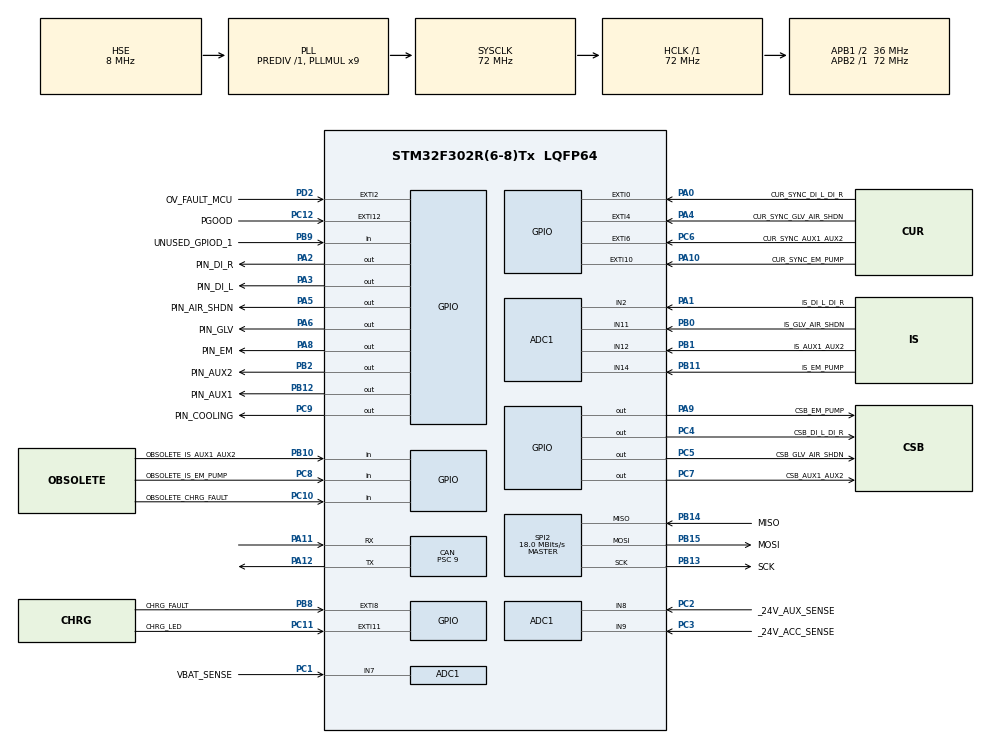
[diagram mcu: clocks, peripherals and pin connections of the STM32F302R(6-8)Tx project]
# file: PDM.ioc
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ADC1.Channel-7\#ChannelRegularConversion=ADC_CHANNEL_11
ADC1.NbrOfConversionFlag=1
ADC1.Offset-7\#ChannelRegularConversion=0
ADC1.OffsetNumber-7\#ChannelRegularConversion=ADC_OFFSET_NONE
ADC1.Rank-7\#ChannelRegularConversion=1
ADC1.SamplingTime-7\#ChannelRegularConversion=ADC_SAMPLETIME_1CYCLE_5
ADC1.SubFamily=STM32F302x8
ADC1.master=1
CAN.ABOM=ENABLE
CAN.BS1=CAN_BS1_6TQ
CAN.CalculateTimeQuantum=250.0
CAN.NART=ENABLE
CAN.Prescaler=9
CAN.RFLM=ENABLE
CAN.SJW=CAN_SJW_4TQ
CAN.TXFP=ENABLE
FREERTOS.INCLUDE_vTaskDelayUntil=1
FREERTOS.MEMORY_ALLOCATION=1
FREERTOS.Tasks01=Task1Hz,0,128,RunTask1Hz,Default,NULL,Static,Task1HzBuffer,Task1HzControlBlock;Task1kHz,0,128,RunTask1kHz,Default,NULL,Static,Task1kHzBuffer,Task1kHzControlBlock
FREERTOS.configUSE_MUTEXES=1
IWDG.Reload=LSI_FREQUENCY / IWDG_PRESCALER / IWDG_RESET_FREQUENCY
IWDG.Window=IWDG_WINDOW_DISABLE_VALUE
Mcu.Family=STM32F3
Mcu.Name=STM32F302R(6-8)Tx
Mcu.Package=LQFP64
Mcu.UserConstants=IWDG_WINDOW_DISABLE_VALUE,4095;LSI_FREQUENCY,40000;IWDG_PRESCALER,4;IWDG_RESET_FREQUENCY,5
NVIC.CAN_RX1_IRQn=true\:5\:0\:false\:false\:true\:true\:true\:true
NVIC.PriorityGroup=NVIC_PRIORITYGROUP_4
NVIC.TIM1_UP_TIM16_IRQn=true\:0\:0\:false\:false\:true\:false\:false\:true
NVIC.TimeBase=TIM1_UP_TIM16_IRQn
NVIC.TimeBaseIP=TIM1
NVIC.USB_HP_CAN_TX_IRQn=true\:5\:0\:false\:false\:true\:true\:true\:true
NVIC.USB_LP_CAN_RX0_IRQn=true\:5\:0\:false\:false\:true\:true\:true\:true
PA0.GPIO_Label=CUR_SYNC_DI_L_DI_R
PA0.Signal=GPXTI0
PA1.GPIO_Label=IS_DI_L_DI_R
PA1.Mode=IN2-Single-Ended
PA1.Signal=ADC1_IN2
PA10.GPIO_Label=CUR_SYNC_EM_PUMP
PA10.Signal=GPXTI10
PA11.Mode=Master
PA11.Signal=CAN_RX
PA12.Mode=Master
PA12.Signal=CAN_TX
PA13.Mode=Trace_Asynchronous_SW
PA13.Signal=SYS_JTMS-SWDIO
PA14.Mode=Trace_Asynchronous_SW
PA14.Signal=SYS_JTCK-SWCLK
PA2.GPIO_Label=PIN_DI_R
PA2.GPIO_ModeDefaultOutputPP=GPIO_MODE_OUTPUT_OD
PA2.GPIO_PuPd=GPIO_PULLUP
PA2.Signal=GPIO_Output
PA3.GPIO_Label=PIN_DI_L
PA3.GPIO_ModeDefaultOutputPP=GPIO_MODE_OUTPUT_OD
PA3.GPIO_PuPd=GPIO_PULLUP
PA3.Signal=GPIO_Output
PA4.GPIO_Label=CUR_SYNC_GLV_AIR_SHDN
PA4.Signal=GPXTI4
PA5.GPIO_Label=PIN_AIR_SHDN
PA5.GPIO_ModeDefaultOutputPP=GPIO_MODE_OUTPUT_OD
PA5.GPIO_PuPd=GPIO_PULLUP
PA5.Signal=GPIO_Output
PA6.GPIO_Label=PIN_GLV
PA6.GPIO_ModeDefaultOutputPP=GPIO_MODE_OUTPUT_OD
PA6.GPIO_PuPd=GPIO_PULLUP
PA6.Signal=GPIO_Output
PA8.GPIO_Label=PIN_EM
PA8.GPIO_ModeDefaultOutputPP=GPIO_MODE_OUTPUT_OD
PA8.GPIO_PuPd=GPIO_PULLUP
PA8.Signal=GPIO_Output
PA9.GPIO_Label=CSB_EM_PUMP
PA9.GPIO_PuPd=GPIO_PULLUP
PA9.PinState=GPIO_PIN_SET
PA9.Signal=GPIO_Output
PB0.GPIO_Label=IS_GLV_AIR_SHDN
PB0.Mode=IN11-Single-Ended
PB0.Signal=ADC1_IN11
PB1.GPIO_Label=IS_AUX1_AUX2
PB1.Mode=IN12-Single-Ended
PB1.Signal=ADC1_IN12
PB10.GPIO_Label=OBSOLETE_IS_AUX1_AUX2
PB10.Signal=GPIO_Input
PB11.GPIO_Label=IS_EM_PUMP
PB11.Mode=IN14-Single-Ended
PB11.Signal=ADC1_IN14
PB12.GPIO_Label=PIN_AUX1
PB12.GPIO_ModeDefaultOutputPP=GPIO_MODE_OUTPUT_OD
PB12.GPIO_PuPd=GPIO_PULLUP
PB12.Signal=GPIO_Output
PB13.GPIO_Label=SCK
PB13.Mode=Full_Duplex_Master
PB13.Signal=SPI2_SCK
PB14.GPIO_Label=MISO
PB14.Mode=Full_Duplex_Master
PB14.Signal=SPI2_MISO
PB15.GPIO_Label=MOSI
PB15.Mode=Full_Duplex_Master
PB15.Signal=SPI2_MOSI
PB2.GPIO_Label=PIN_AUX2
PB2.GPIO_ModeDefaultOutputPP=GPIO_MODE_OUTPUT_OD
PB2.GPIO_PuPd=GPIO_PULLUP
PB2.Signal=GPIO_Output
PB3.Mode=Trace_Asynchronous_SW
PB3.Signal=SYS_JTDO-TRACESWO
PB8.GPIO_Label=CHRG_FAULT
PB8.Signal=GPXTI8
PB9.GPIO_Label=UNUSED_GPIOD_1
PB9.Signal=GPIO_Input
PC1.GPIO_Label=VBAT_SENSE
PC1.Signal=ADCx_IN7
PC10.GPIO_Label=OBSOLETE_CHRG_FAULT
PC10.Signal=GPIO_Input
PC11.GPIO_Label=CHRG_LED
PC11.Signal=GPXTI11
PC12.GPIO_Label=PGOOD
PC12.Signal=GPXTI12
PC2.GPIO_Label=_24V_AUX_SENSE
PC2.Signal=ADCx_IN8
PC3.GPIO_Label=_24V_ACC_SENSE
PC3.Signal=ADCx_IN9
PC4.GPIO_Label=CSB_DI_L_DI_R
PC4.GPIO_PuPd=GPIO_PULLUP
PC4.PinState=GPIO_PIN_SET
PC4.Signal=GPIO_Output
PC5.GPIO_Label=CSB_GLV_AIR_SHDN
PC5.GPIO_PuPd=GPIO_PULLUP
PC5.PinState=GPIO_PIN_SET
PC5.Signal=GPIO_Output
PC6.GPIO_Label=CUR_SYNC_AUX1_AUX2
PC6.Signal=GPXTI6
PC7.GPIO_Label=CSB_AUX1_AUX2
PC7.GPIO_PuPd=GPIO_PULLUP
PC7.PinState=GPIO_PIN_SET
PC7.Signal=GPIO_Output
PC8.GPIO_Label=OBSOLETE_IS_EM_PUMP
PC8.Signal=GPIO_Input
PC9.GPIO_Label=PIN_COOLING
PC9.GPIO_ModeDefaultOutputPP=GPIO_MODE_OUTPUT_OD
PC9.GPIO_PuPd=GPIO_PULLUP
PC9.Signal=GPIO_Output
PD2.GPIO_Label=OV_FAULT_MCU
PD2.Signal=GPXTI2
PF0-OSC_IN.Mode=HSE-External-Oscillator
PF0-OSC_IN.Signal=RCC_OSC_IN
PF1-OSC_OUT.Mode=HSE-External-Oscillator
PF1-OSC_OUT.Signal=RCC_OSC_OUT
ProjectManager.HeapSize=0x200
ProjectManager.StackSize=0x400
ProjectManager.TargetToolchain=SW4STM32
RCC.AHBFreq_Value=72000000
RCC.APB1CLKDivider=RCC_HCLK_DIV2
RCC.APB1Freq_Value=36000000
RCC.APB1TimFreq_Value=72000000
RCC.APB2Freq_Value=72000000
RCC.APB2TimFreq_Value=72000000
RCC.CortexFreq_Value=72000000
RCC.HCLKFreq_Value=72000000
RCC.HSE_VALUE=8000000
RCC.HSI_VALUE=8000000
RCC.LSE_VALUE=32768
RCC.PLLMUL=RCC_PLL_MUL9
RCC.PLLSourceVirtual=RCC_PLLSOURCE_HSE
RCC.SYSCLKFreq_VALUE=72000000
RCC.SYSCLKSourceVirtual=RCC_SYSCLKSOURCE_PLLCLK
RCC.USBFreq_Value=72000000
SH.ADCx_IN7.0=ADC1_IN7,IN7-Single-Ended
SH.ADCx_IN8.0=ADC1_IN8,IN8-Single-Ended
SH.ADCx_IN9.0=ADC1_IN9,IN9-Single-Ended
SPI2.BaudRatePrescaler=SPI_BAUDRATEPRESCALER_2
SPI2.CalculateBaudRate=18.0 MBits/s
SPI2.Direction=SPI_DIRECTION_2LINES
SPI2.Mode=SPI_MODE_MASTER
SPI2.VirtualType=VM_MASTER
VP_FREERTOS_VS_CMSIS_V1.Mode=CMSIS_V1
VP_IWDG_VS_IWDG.Mode=IWDG_Activate
VP_SYS_VS_tim1.Mode=TIM1
board=custom

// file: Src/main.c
/* USER CODE BEGIN Header */
/**
 ******************************************************************************
 * @file           : main.c
 * @brief          : Main program body
 ******************************************************************************
 * @attention
 *
 * <h2><center>&copy; Copyright (c) 2019 STMicroelectronics.
 * All rights reserved.</center></h2>
 *
 * This software component is licensed by ST under Ultimate Liberty license
 * SLA0044, the "License"; You may not use this file except in compliance with
 * the License. You may obtain a copy of the License at:
 *                             www.st.com/SLA0044
 *
 ******************************************************************************
 */
/* USER CODE END Header */

#include "main.h"
#include "cmsis_os.h"

/* USER CODE BEGIN Includes */
#include "SharedWatchdog.h"
#include "SharedConstants.h"
#include "SharedCmsisOs.h"
#include "SharedCan.h"
#include "SharedHeartbeat.h"
#include "SharedHardFaultHandler.h"
#include "Io_Can.h"
/* USER CODE END Includes */

ADC_HandleTypeDef hadc1;

CAN_HandleTypeDef hcan;

IWDG_HandleTypeDef hiwdg;

SPI_HandleTypeDef hspi2;

osThreadId          Task1HzHandle;
uint32_t            Task1HzBuffer[128];
osStaticThreadDef_t Task1HzControlBlock;
osThreadId          Task1kHzHandle;
uint32_t            Task1kHzBuffer[128];
osStaticThreadDef_t Task1kHzControlBlock;

void        SystemClock_Config(void);
static void MX_GPIO_Init(void);
static void MX_CAN_Init(void);
static void MX_SPI2_Init(void);
static void MX_ADC1_Init(void);
static void MX_IWDG_Init(void);
void        RunTask1Hz(void const *argument);
void        RunTask1kHz(void const *argument);

int main(void)
{
    /* USER CODE BEGIN 1 */
    __HAL_DBGMCU_FREEZE_IWDG();
    SharedHardFaultHandler_Init();
    /* USER CODE END 1 */

    /* MCU
     * Configuration--------------------------------------------------------*/

    /* Reset of all peripherals, Initializes the Flash interface and the
     * Systick. */
    HAL_Init();

    /* Configure the system clock */
    SystemClock_Config();

    /* Initialize all configured peripherals */
    MX_GPIO_Init();
    MX_CAN_Init();
    MX_SPI2_Init();
    MX_ADC1_Init();
    MX_IWDG_Init();

    /* Create the thread(s) */
    /* definition and creation of Task1Hz */
    osThreadStaticDef(
        Task1Hz, RunTask1Hz, osPriorityNormal, 0, 128, Task1HzBuffer,
        &Task1HzControlBlock);
    Task1HzHandle = osThreadCreate(osThread(Task1Hz), NULL);

    /* definition and creation of Task1kHz */
    osThreadStaticDef(
        Task1kHz, RunTask1kHz, osPriorityNormal, 0, 128, Task1kHzBuffer,
        &Task1kHzControlBlock);
    Task1kHzHandle = osThreadCreate(osThread(Task1kHz), NULL);

    /* Start scheduler */
    osKernelStart();

    /* We should never get here as control is now taken by the scheduler */

    /* Infinite loop */
    while (1)
    {

    }
}

void SystemClock_Config(void)
{
    RCC_OscInitTypeDef       RCC_OscInitStruct = { 0 };
    RCC_ClkInitTypeDef       RCC_ClkInitStruct = { 0 };
    RCC_PeriphCLKInitTypeDef PeriphClkInit     = { 0 };

    /** Initializes the CPU, AHB and APB busses clocks
     */
    RCC_OscInitStruct.OscillatorType =
        RCC_OSCILLATORTYPE_LSI | RCC_OSCILLATORTYPE_HSE;
    RCC_OscInitStruct.HSEState       = RCC_HSE_ON;
    RCC_OscInitStruct.HSEPredivValue = RCC_HSE_PREDIV_DIV1;
    RCC_OscInitStruct.HSIState       = RCC_HSI_ON;
    RCC_OscInitStruct.LSIState       = RCC_LSI_ON;
    RCC_OscInitStruct.PLL.PLLState   = RCC_PLL_ON;
    RCC_OscInitStruct.PLL.PLLSource  = RCC_PLLSOURCE_HSE;
    RCC_OscInitStruct.PLL.PLLMUL     = RCC_PLL_MUL9;
    if (HAL_RCC_OscConfig(&RCC_OscInitStruct) != HAL_OK)
    {
        Error_Handler();
    }
    /** Initializes the CPU, AHB and APB busses clocks
     */
    RCC_ClkInitStruct.ClockType = RCC_CLOCKTYPE_HCLK | RCC_CLOCKTYPE_SYSCLK |
                                  RCC_CLOCKTYPE_PCLK1 | RCC_CLOCKTYPE_PCLK2;
    RCC_ClkInitStruct.SYSCLKSource   = RCC_SYSCLKSOURCE_PLLCLK;
    RCC_ClkInitStruct.AHBCLKDivider  = RCC_SYSCLK_DIV1;
    RCC_ClkInitStruct.APB1CLKDivider = RCC_HCLK_DIV2;
    RCC_ClkInitStruct.APB2CLKDivider = RCC_HCLK_DIV1;

    if (HAL_RCC_ClockConfig(&RCC_ClkInitStruct, FLASH_LATENCY_2) != HAL_OK)
    {
        Error_Handler();
    }
    PeriphClkInit.PeriphClockSelection = RCC_PERIPHCLK_ADC1;
    PeriphClkInit.Adc1ClockSelection   = RCC_ADC1PLLCLK_DIV1;

    if (HAL_RCCEx_PeriphCLKConfig(&PeriphClkInit) != HAL_OK)
    {
        Error_Handler();
    }
}

static void MX_ADC1_Init(void)
{

    ADC_ChannelConfTypeDef sConfig = { 0 };

    /** Common config
     */
    hadc1.Instance                   = ADC1;
    hadc1.Init.ClockPrescaler        = ADC_CLOCK_ASYNC_DIV1;
    hadc1.Init.Resolution            = ADC_RESOLUTION_12B;
    hadc1.Init.ScanConvMode          = ADC_SCAN_DISABLE;
    hadc1.Init.ContinuousConvMode    = DISABLE;
    hadc1.Init.DiscontinuousConvMode = DISABLE;
    hadc1.Init.ExternalTrigConvEdge  = ADC_EXTERNALTRIGCONVEDGE_NONE;
    hadc1.Init.ExternalTrigConv      = ADC_SOFTWARE_START;
    hadc1.Init.DataAlign             = ADC_DATAALIGN_RIGHT;
    hadc1.Init.NbrOfConversion       = 1;
    hadc1.Init.DMAContinuousRequests = DISABLE;
    hadc1.Init.EOCSelection          = ADC_EOC_SINGLE_CONV;
    hadc1.Init.LowPowerAutoWait      = DISABLE;
    hadc1.Init.Overrun               = ADC_OVR_DATA_OVERWRITTEN;
    if (HAL_ADC_Init(&hadc1) != HAL_OK)
    {
        Error_Handler();
    }
    /** Configure Regular Channel
     */
    sConfig.Channel      = ADC_CHANNEL_11;
    sConfig.Rank         = ADC_REGULAR_RANK_1;
    sConfig.SingleDiff   = ADC_SINGLE_ENDED;
    sConfig.SamplingTime = ADC_SAMPLETIME_1CYCLE_5;
    sConfig.OffsetNumber = ADC_OFFSET_NONE;
    sConfig.Offset       = 0;
    if (HAL_ADC_ConfigChannel(&hadc1, &sConfig) != HAL_OK)
    {
        Error_Handler();
    }
}

static void MX_CAN_Init(void)
{

    hcan.Instance                  = CAN;
    hcan.Init.Prescaler            = 9;
    hcan.Init.Mode                 = CAN_MODE_NORMAL;
    hcan.Init.SyncJumpWidth        = CAN_SJW_4TQ;
    hcan.Init.TimeSeg1             = CAN_BS1_6TQ;
    hcan.Init.TimeSeg2             = CAN_BS2_1TQ;
    hcan.Init.TimeTriggeredMode    = DISABLE;
    hcan.Init.AutoBusOff           = ENABLE;
    hcan.Init.AutoWakeUp           = DISABLE;
    hcan.Init.AutoRetransmission   = ENABLE;
    hcan.Init.ReceiveFifoLocked    = ENABLE;
    hcan.Init.TransmitFifoPriority = ENABLE;
    if (HAL_CAN_Init(&hcan) != HAL_OK)
    {
        Error_Handler();
    }
    /* USER CODE BEGIN CAN_Init 2 */
    SharedCan_StartCanInInterruptMode(
        &hcan, Io_Can_GetCanMaskFilters(), Io_Can_GetNumberOfCanMaskFilters());
    /* USER CODE END CAN_Init 2 */
}

static void MX_IWDG_Init(void)
{

    hiwdg.Instance       = IWDG;
    hiwdg.Init.Prescaler = IWDG_PRESCALER_4;
    hiwdg.Init.Window    = IWDG_WINDOW_DISABLE_VALUE;
    hiwdg.Init.Reload = LSI_FREQUENCY / IWDG_PRESCALER / IWDG_RESET_FREQUENCY;
    if (HAL_IWDG_Init(&hiwdg) != HAL_OK)
    {
        Error_Handler();
    }
    /* USER CODE BEGIN IWDG_Init 2 */
    SharedWatchdog_SetIwdgInitialized(&hiwdg);
    /* USER CODE END IWDG_Init 2 */
}

static void MX_SPI2_Init(void)
{

    /* SPI2 parameter configuration*/
    hspi2.Instance               = SPI2;
    hspi2.Init.Mode              = SPI_MODE_MASTER;
    hspi2.Init.Direction         = SPI_DIRECTION_2LINES;
    hspi2.Init.DataSize          = SPI_DATASIZE_4BIT;
    hspi2.Init.CLKPolarity       = SPI_POLARITY_LOW;
    hspi2.Init.CLKPhase          = SPI_PHASE_1EDGE;
    hspi2.Init.NSS               = SPI_NSS_SOFT;
    hspi2.Init.BaudRatePrescaler = SPI_BAUDRATEPRESCALER_2;
    hspi2.Init.FirstBit          = SPI_FIRSTBIT_MSB;
    hspi2.Init.TIMode            = SPI_TIMODE_DISABLE;
    hspi2.Init.CRCCalculation    = SPI_CRCCALCULATION_DISABLE;
    hspi2.Init.CRCPolynomial     = 7;
    hspi2.Init.CRCLength         = SPI_CRC_LENGTH_DATASIZE;
    hspi2.Init.NSSPMode          = SPI_NSS_PULSE_ENABLE;
    if (HAL_SPI_Init(&hspi2) != HAL_OK)
    {
        Error_Handler();
    }
}

static void MX_GPIO_Init(void)
{
    GPIO_InitTypeDef GPIO_InitStruct = { 0 };

    /* GPIO Ports Clock Enable */
    __HAL_RCC_GPIOC_CLK_ENABLE();
    __HAL_RCC_GPIOF_CLK_ENABLE();
    __HAL_RCC_GPIOA_CLK_ENABLE();
    __HAL_RCC_GPIOB_CLK_ENABLE();
    __HAL_RCC_GPIOD_CLK_ENABLE();

    /*Configure GPIO pin Output Level */
    HAL_GPIO_WritePin(
        GPIOA,
        PIN_DI_R_Pin | PIN_DI_L_Pin | PIN_AIR_SHDN_Pin | PIN_GLV_Pin |
            PIN_EM_Pin,
        GPIO_PIN_RESET);

    /*Configure GPIO pin Output Level */
    HAL_GPIO_WritePin(
        GPIOC, CSB_DI_L_DI_R_Pin | CSB_GLV_AIR_SHDN_Pin | CSB_AUX1_AUX2_Pin,
        GPIO_PIN_SET);

    /*Configure GPIO pin Output Level */
    HAL_GPIO_WritePin(GPIOB, PIN_AUX2_Pin | PIN_AUX1_Pin, GPIO_PIN_RESET);

    /*Configure GPIO pin Output Level */
    HAL_GPIO_WritePin(PIN_COOLING_GPIO_Port, PIN_COOLING_Pin, GPIO_PIN_RESET);

    /*Configure GPIO pin Output Level */
    HAL_GPIO_WritePin(CSB_EM_PUMP_GPIO_Port, CSB_EM_PUMP_Pin, GPIO_PIN_SET);

    /*Configure GPIO pins : PC13 PC14 PC15 PC0 */
    GPIO_InitStruct.Pin  = GPIO_PIN_13 | GPIO_PIN_14 | GPIO_PIN_15 | GPIO_PIN_0;
    GPIO_InitStruct.Mode = GPIO_MODE_ANALOG;
    GPIO_InitStruct.Pull = GPIO_NOPULL;
    HAL_GPIO_Init(GPIOC, &GPIO_InitStruct);

    /*Configure GPIO pins : CUR_SYNC_DI_L_DI_R_Pin CUR_SYNC_GLV_AIR_SHDN_Pin
     * CUR_SYNC_EM_PUMP_Pin */
    GPIO_InitStruct.Pin = CUR_SYNC_DI_L_DI_R_Pin | CUR_SYNC_GLV_AIR_SHDN_Pin |
                          CUR_SYNC_EM_PUMP_Pin;
    GPIO_InitStruct.Mode = GPIO_MODE_IT_RISING;
    GPIO_InitStruct.Pull = GPIO_NOPULL;
    HAL_GPIO_Init(GPIOA, &GPIO_InitStruct);

    /*Configure GPIO pins : PIN_DI_R_Pin PIN_DI_L_Pin PIN_AIR_SHDN_Pin
       PIN_GLV_Pin PIN_EM_Pin */
    GPIO_InitStruct.Pin = PIN_DI_R_Pin | PIN_DI_L_Pin | PIN_AIR_SHDN_Pin |
                          PIN_GLV_Pin | PIN_EM_Pin;
    GPIO_InitStruct.Mode  = GPIO_MODE_OUTPUT_OD;
    GPIO_InitStruct.Pull  = GPIO_PULLUP;
    GPIO_InitStruct.Speed = GPIO_SPEED_FREQ_LOW;
    HAL_GPIO_Init(GPIOA, &GPIO_InitStruct);

    /*Configure GPIO pins : PA7 PA15 */
    GPIO_InitStruct.Pin  = GPIO_PIN_7 | GPIO_PIN_15;
    GPIO_InitStruct.Mode = GPIO_MODE_ANALOG;
    GPIO_InitStruct.Pull = GPIO_NOPULL;
    HAL_GPIO_Init(GPIOA, &GPIO_InitStruct);

    /*Configure GPIO pins : CSB_DI_L_DI_R_Pin CSB_GLV_AIR_SHDN_Pin
     * CSB_AUX1_AUX2_Pin */
    GPIO_InitStruct.Pin =
        CSB_DI_L_DI_R_Pin | CSB_GLV_AIR_SHDN_Pin | CSB_AUX1_AUX2_Pin;
    GPIO_InitStruct.Mode  = GPIO_MODE_OUTPUT_PP;
    GPIO_InitStruct.Pull  = GPIO_PULLUP;
    GPIO_InitStruct.Speed = GPIO_SPEED_FREQ_LOW;
    HAL_GPIO_Init(GPIOC, &GPIO_InitStruct);

    /*Configure GPIO pins : PIN_AUX2_Pin PIN_AUX1_Pin */
    GPIO_InitStruct.Pin   = PIN_AUX2_Pin | PIN_AUX1_Pin;
    GPIO_InitStruct.Mode  = GPIO_MODE_OUTPUT_OD;
    GPIO_InitStruct.Pull  = GPIO_PULLUP;
    GPIO_InitStruct.Speed = GPIO_SPEED_FREQ_LOW;
    HAL_GPIO_Init(GPIOB, &GPIO_InitStruct);

    /*Configure GPIO pins : OBSOLETE_IS_AUX1_AUX2_Pin UNUSED_GPIOD_1_Pin */
    GPIO_InitStruct.Pin  = OBSOLETE_IS_AUX1_AUX2_Pin | UNUSED_GPIOD_1_Pin;
    GPIO_InitStruct.Mode = GPIO_MODE_INPUT;
    GPIO_InitStruct.Pull = GPIO_NOPULL;
    HAL_GPIO_Init(GPIOB, &GPIO_InitStruct);

    /*Configure GPIO pins : CUR_SYNC_AUX1_AUX2_Pin CHRG_LED_Pin PGOOD_Pin */
    GPIO_InitStruct.Pin  = CUR_SYNC_AUX1_AUX2_Pin | CHRG_LED_Pin | PGOOD_Pin;
    GPIO_InitStruct.Mode = GPIO_MODE_IT_RISING;
    GPIO_InitStruct.Pull = GPIO_NOPULL;
    HAL_GPIO_Init(GPIOC, &GPIO_InitStruct);

    /*Configure GPIO pins : OBSOLETE_IS_EM_PUMP_Pin OBSOLETE_CHRG_FAULT_Pin */
    GPIO_InitStruct.Pin  = OBSOLETE_IS_EM_PUMP_Pin | OBSOLETE_CHRG_FAULT_Pin;
    GPIO_InitStruct.Mode = GPIO_MODE_INPUT;
    GPIO_InitStruct.Pull = GPIO_NOPULL;
    HAL_GPIO_Init(GPIOC, &GPIO_InitStruct);

    /*Configure GPIO pin : PIN_COOLING_Pin */
    GPIO_InitStruct.Pin   = PIN_COOLING_Pin;
    GPIO_InitStruct.Mode  = GPIO_MODE_OUTPUT_OD;
    GPIO_InitStruct.Pull  = GPIO_PULLUP;
    GPIO_InitStruct.Speed = GPIO_SPEED_FREQ_LOW;
    HAL_GPIO_Init(PIN_COOLING_GPIO_Port, &GPIO_InitStruct);

    /*Configure GPIO pin : CSB_EM_PUMP_Pin */
    GPIO_InitStruct.Pin   = CSB_EM_PUMP_Pin;
    GPIO_InitStruct.Mode  = GPIO_MODE_OUTPUT_PP;
    GPIO_InitStruct.Pull  = GPIO_PULLUP;
    GPIO_InitStruct.Speed = GPIO_SPEED_FREQ_LOW;
    HAL_GPIO_Init(CSB_EM_PUMP_GPIO_Port, &GPIO_InitStruct);

    /*Configure GPIO pin : OV_FAULT_MCU_Pin */
    GPIO_InitStruct.Pin  = OV_FAULT_MCU_Pin;
    GPIO_InitStruct.Mode = GPIO_MODE_IT_RISING;
    GPIO_InitStruct.Pull = GPIO_NOPULL;
    HAL_GPIO_Init(OV_FAULT_MCU_GPIO_Port, &GPIO_InitStruct);

    /*Configure GPIO pins : PB4 PB5 PB6 PB7 */
    GPIO_InitStruct.Pin  = GPIO_PIN_4 | GPIO_PIN_5 | GPIO_PIN_6 | GPIO_PIN_7;
    GPIO_InitStruct.Mode = GPIO_MODE_ANALOG;
    GPIO_InitStruct.Pull = GPIO_NOPULL;
    HAL_GPIO_Init(GPIOB, &GPIO_InitStruct);

    /*Configure GPIO pin : CHRG_FAULT_Pin */
    GPIO_InitStruct.Pin  = CHRG_FAULT_Pin;
    GPIO_InitStruct.Mode = GPIO_MODE_IT_RISING;
    GPIO_InitStruct.Pull = GPIO_NOPULL;
    HAL_GPIO_Init(CHRG_FAULT_GPIO_Port, &GPIO_InitStruct);
}

void RunTask1Hz(void const *argument)
{
    /* USER CODE BEGIN 5 */
    UNUSED(argument);
    uint32_t PreviousWakeTime = osKernelSysTick();

    for (;;)
    {
        (void)SharedCmsisOs_osDelayUntilMs(&PreviousWakeTime, 1000U);
    }
    /* USER CODE END 5 */
}

void RunTask1kHz(void const *argument)
{
    /* USER CODE BEGIN RunTask1kHz */
    UNUSED(argument);
    uint32_t PreviousWakeTime = osKernelSysTick();

    for (;;)
    {
        SharedHeartbeat_BroadcastHeartbeat(
            CANMSGS_pdm_heartbeat_FRAME_ID, CANMSGS_PDM_HEARTBEAT_LENGTH);
        // TODO (#361) :Implement proper watchdog check-in mechanism
        SharedWatchdog_RefreshIwdg();
        (void)SharedCmsisOs_osDelayUntilMs(&PreviousWakeTime, 1U);
    }
    /* USER CODE END RunTask1kHz */
}

void HAL_TIM_PeriodElapsedCallback(TIM_HandleTypeDef *htim)
{
    if (htim->Instance == TIM1)
    {
        HAL_IncTick();
    }
}

void Error_Handler(void)
{
    /* USER CODE BEGIN Error_Handler_Debug */
    SharedHalHandler_ErrorHandler(file, line);
    /* USER CODE END Error_Handler_Debug */
}

#ifdef USE_FULL_ASSERT
/**
 * @brief  Reports the name of the source file and the source line number
 *         where the assert_param error has occurred.
 * @param  file: pointer to the source file name
 * @param  line: assert_param error line source number
 * @retval None
 */
void assert_failed(char *file, uint32_t line)
{
    /* USER CODE BEGIN 6 */
    SharedHalHandler_AssertFailed(file, line);
    /* USER CODE END 6 */
}
#endif /* USE_FULL_ASSERT */

/************************ (C) COPYRIGHT STMicroelectronics *****END OF FILE****/

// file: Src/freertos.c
/* USER CODE BEGIN Header */
/**
 ******************************************************************************
 * File Name          : freertos.c
 * Description        : Code for freertos applications
 ******************************************************************************
 * @attention
 *
 * <h2><center>&copy; Copyright (c) 2019 STMicroelectronics.
 * All rights reserved.</center></h2>
 *
 * This software component is licensed by ST under Ultimate Liberty license
 * SLA0044, the "License"; You may not use this file except in compliance with
 * the License. You may obtain a copy of the License at:
 *                             www.st.com/SLA0044
 *
 ******************************************************************************
 */
/* USER CODE END Header */

#include "FreeRTOS.h"
#include "task.h"
#include "main.h"

/* GetIdleTaskMemory prototype (linked to static allocation support) */
void vApplicationGetIdleTaskMemory(
    StaticTask_t **ppxIdleTaskTCBBuffer,
    StackType_t ** ppxIdleTaskStackBuffer,
    uint32_t *     pulIdleTaskStackSize);

/* USER CODE BEGIN GET_IDLE_TASK_MEMORY */
static StaticTask_t xIdleTaskTCBBuffer;
static StackType_t  xIdleStack[configMINIMAL_STACK_SIZE];

void vApplicationGetIdleTaskMemory(
    StaticTask_t **ppxIdleTaskTCBBuffer,
    StackType_t ** ppxIdleTaskStackBuffer,
    uint32_t *     pulIdleTaskStackSize)
{
    *ppxIdleTaskTCBBuffer   = &xIdleTaskTCBBuffer;
    *ppxIdleTaskStackBuffer = &xIdleStack[0];
    *pulIdleTaskStackSize   = configMINIMAL_STACK_SIZE;
    /* place for user code */
}
/* USER CODE END GET_IDLE_TASK_MEMORY */

/************************ (C) COPYRIGHT STMicroelectronics *****END OF FILE****/
